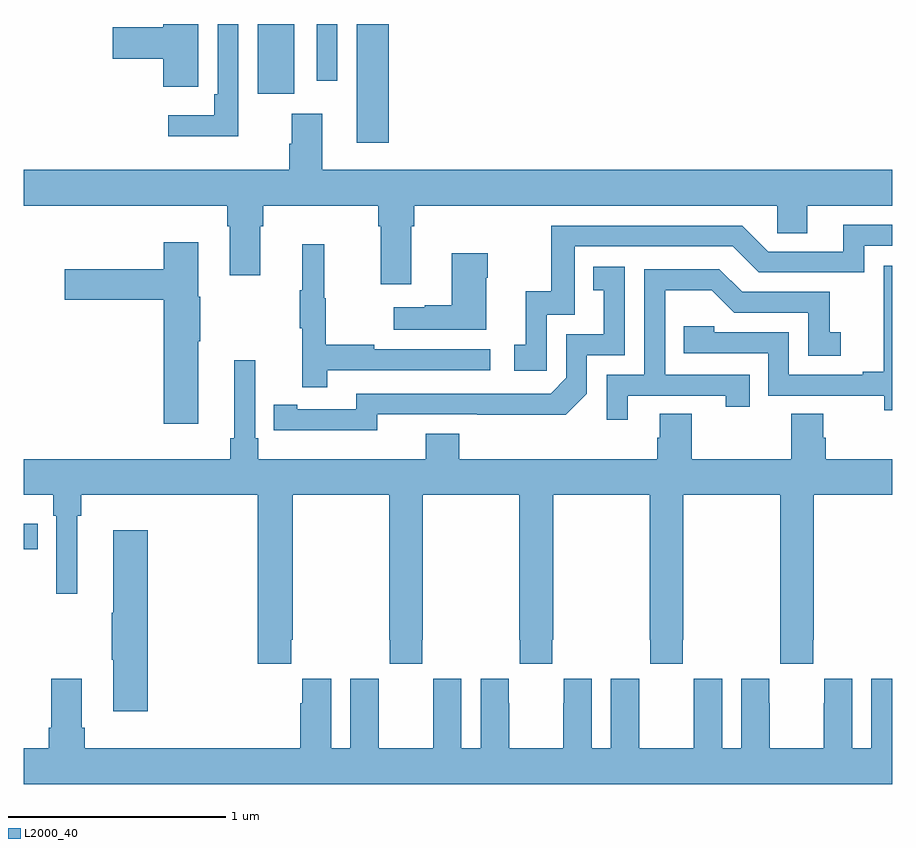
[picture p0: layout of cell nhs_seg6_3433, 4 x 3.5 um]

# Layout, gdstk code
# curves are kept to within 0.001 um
import gdstk
lib = gdstk.Library(unit=1e-6, precision=1e-09)
def R(c, l, rs):  # rectangles x0, y0, x1, y1
    for r in rs: c.add(gdstk.rectangle(r[:2], r[2:], *l))
def P(c, l, *ps):  # polygons
    for p in ps: c.add(gdstk.Polygon(p, *l))
L2000_40 = (2000, 40)

nhs_seg6_3433 = lib.new_cell('nhs_seg6_3433')
R(nhs_seg6_3433, L2000_40, [(313,951.082,313.064,951.198), (314.534,952.953,314.681,953.5), (314.078,953.178,314.245,953.5), (314.349,953.238,314.445,953.5)])
P(nhs_seg6_3433, L2000_40, [(313.803,953.323),(313.804,953.323),(313.804,953.5),(313.643,953.5),(313.643,953.486),(313.41,953.486),(313.41,953.339),(313.643,953.339),(313.643,953.211),(313.803,953.211)],
  [(313.989,953.5),(313.893,953.5),(313.893,953.176),(313.877,953.176),(313.877,953.08),(313.665,953.08),(313.665,952.982),(313.989,952.982)],
  [(314.785,952.568),(314.798,952.568),(314.798,952.664),(316.47,952.664),(316.47,952.537),(316.609,952.537),(316.609,952.664),(317,952.664),(317,952.828),(314.374,952.828),(314.374,953.086),(314.234,953.086),(314.234,952.949),(314.222,952.949),(314.222,952.828),(313,952.828),(313,952.664),(313.937,952.664),(313.937,952.568),(313.949,952.568),(313.949,952.344),(314.089,952.344),(314.089,952.568),(314.102,952.568),(314.102,952.664),(314.633,952.664),(314.633,952.568),(314.645,952.568),(314.645,952.302),(314.785,952.302)],
  [(315.408,952.161),(315.537,952.161),(315.537,952.476),(316.266,952.476),(316.386,952.356),(316.872,952.356),(316.872,952.479),(317,952.479),(317,952.575),(316.775,952.575),(316.775,952.452),(316.428,952.452),(316.308,952.572),(315.429,952.572),(315.429,952.27),(315.311,952.27),(315.311,952.023),(315.258,952.023),(315.258,951.903),(315.408,951.903)],
  [(313.804,952.039),(313.812,952.039),(313.812,952.245),(313.804,952.245),(313.804,952.495),(313.646,952.495),(313.646,952.371),(313.188,952.371),(313.188,952.229),(313.646,952.229),(313.646,951.66),(313.804,951.66)],
  [(314.399,951.906),(315.148,951.906),(315.148,952.002),(314.615,952.002),(314.615,952.022),(314.392,952.022),(314.392,952.236),(314.384,952.236),(314.384,952.486),(314.282,952.486),(314.282,952.273),(314.271,952.273),(314.271,952.099),(314.282,952.099),(314.282,951.828),(314.399,951.828)],
  [(315.13,952.331),(315.138,952.331),(315.138,952.444),(314.972,952.444),(314.972,952.205),(314.846,952.205),(314.846,952.195),(314.703,952.195),(314.703,952.091),(315.13,952.091)],
  [(317,952.387),(316.96,952.387),(316.96,952.181),(316.961,952.181),(316.961,951.898),(316.865,951.898),(316.865,951.885),(316.524,951.885),(316.524,952.08),(316.179,952.08),(316.179,952.107),(316.039,952.107),(316.039,951.984),(316.428,951.984),(316.428,951.789),(316.962,951.789),(316.962,951.721),(317,951.721)],
  [(314.628,951.702),(315.496,951.701),(315.594,951.798),(315.594,951.975),(315.768,951.975),(315.768,952.381),(315.622,952.381),(315.622,952.275),(315.671,952.275),(315.671,952.071),(315.498,952.071),(315.498,951.87),(315.426,951.798),(314.532,951.798),(314.532,951.726),(314.26,951.726),(314.26,951.746),(314.152,951.746),(314.152,951.63),(314.628,951.629)],
  [(315.781,951.789),(316.232,951.789),(316.232,951.738),(316.343,951.738),(316.343,951.885),(315.954,951.885),(315.954,952.274),(316.168,952.274),(316.272,952.17),(316.614,952.17),(316.614,951.972),(316.762,951.972),(316.762,952.081),(316.713,952.081),(316.713,952.266),(316.309,952.266),(316.204,952.371),(315.858,952.371),(315.858,951.885),(315.684,951.885),(315.684,951.678),(315.781,951.678)],
  [(314.231,950.665),(314.238,950.665),(314.238,951.332),(314.683,951.332),(314.683,950.665),(314.685,950.665),(314.685,950.553),(314.835,950.553),(314.835,950.665),(314.838,950.665),(314.838,951.332),(315.283,951.332),(315.283,950.665),(315.285,950.665),(315.285,950.553),(315.435,950.553),(315.435,950.665),(315.438,950.665),(315.438,951.332),(315.883,951.332),(315.883,950.665),(315.885,950.665),(315.885,950.553),(316.035,950.553),(316.035,950.665),(316.038,950.665),(316.038,951.332),(316.483,951.332),(316.483,950.665),(316.485,950.665),(316.485,950.553),(316.635,950.553),(316.635,950.665),(316.638,950.665),(316.638,951.332),(317,951.332),(317,951.496),(316.694,951.496),(316.694,951.594),(316.681,951.594),(316.681,951.704),(316.534,951.704),(316.534,951.496),(316.077,951.496),(316.077,951.704),(315.929,951.704),(315.929,951.594),(315.917,951.594),(315.917,951.496),(315.005,951.496),(315.005,951.613),(314.852,951.613),(314.852,951.496),(314.081,951.496),(314.081,951.592),(314.067,951.592),(314.067,951.952),(313.97,951.952),(313.97,951.592),(313.951,951.592),(313.951,951.496),(313,951.496),(313,951.332),(313.136,951.332),(313.136,951.236),(313.149,951.236),(313.149,950.877),(313.246,950.877),(313.246,951.236),(313.265,951.236),(313.265,951.332),(314.078,951.332),(314.078,950.553),(314.231,950.553)],
  [(313.571,951.169),(313.412,951.169),(313.412,950.789),(313.405,950.789),(313.405,950.572),(313.412,950.572),(313.412,950.334),(313.571,950.334)],
  [(317,950.485),(316.904,950.485),(316.904,950.164),(316.816,950.164),(316.816,950.485),(316.686,950.485),(316.686,950.372),(316.685,950.372),(316.685,950.164),(316.435,950.164),(316.435,950.372),(316.434,950.372),(316.434,950.485),(316.304,950.485),(316.304,950.164),(316.216,950.164),(316.216,950.485),(316.086,950.485),(316.086,950.372),(316.085,950.372),(316.085,950.164),(315.835,950.164),(315.835,950.372),(315.834,950.372),(315.834,950.485),(315.704,950.485),(315.704,950.164),(315.616,950.164),(315.616,950.485),(315.486,950.485),(315.486,950.372),(315.485,950.372),(315.485,950.164),(315.235,950.164),(315.235,950.372),(315.234,950.372),(315.234,950.485),(315.104,950.485),(315.104,950.164),(315.016,950.164),(315.016,950.485),(314.886,950.485),(314.886,950.372),(314.885,950.372),(314.885,950.164),(314.635,950.164),(314.635,950.372),(314.634,950.372),(314.634,950.485),(314.504,950.485),(314.504,950.164),(314.416,950.164),(314.416,950.485),(314.282,950.485),(314.282,950.372),(314.273,950.372),(314.273,950.164),(313.28,950.164),(313.28,950.26),(313.267,950.26),(313.267,950.485),(313.127,950.485),(313.127,950.26),(313.115,950.26),(313.115,950.164),(313,950.164),(313,950),(317,950)])

lib.write_gds('nhs_seg6_3433.gds')
